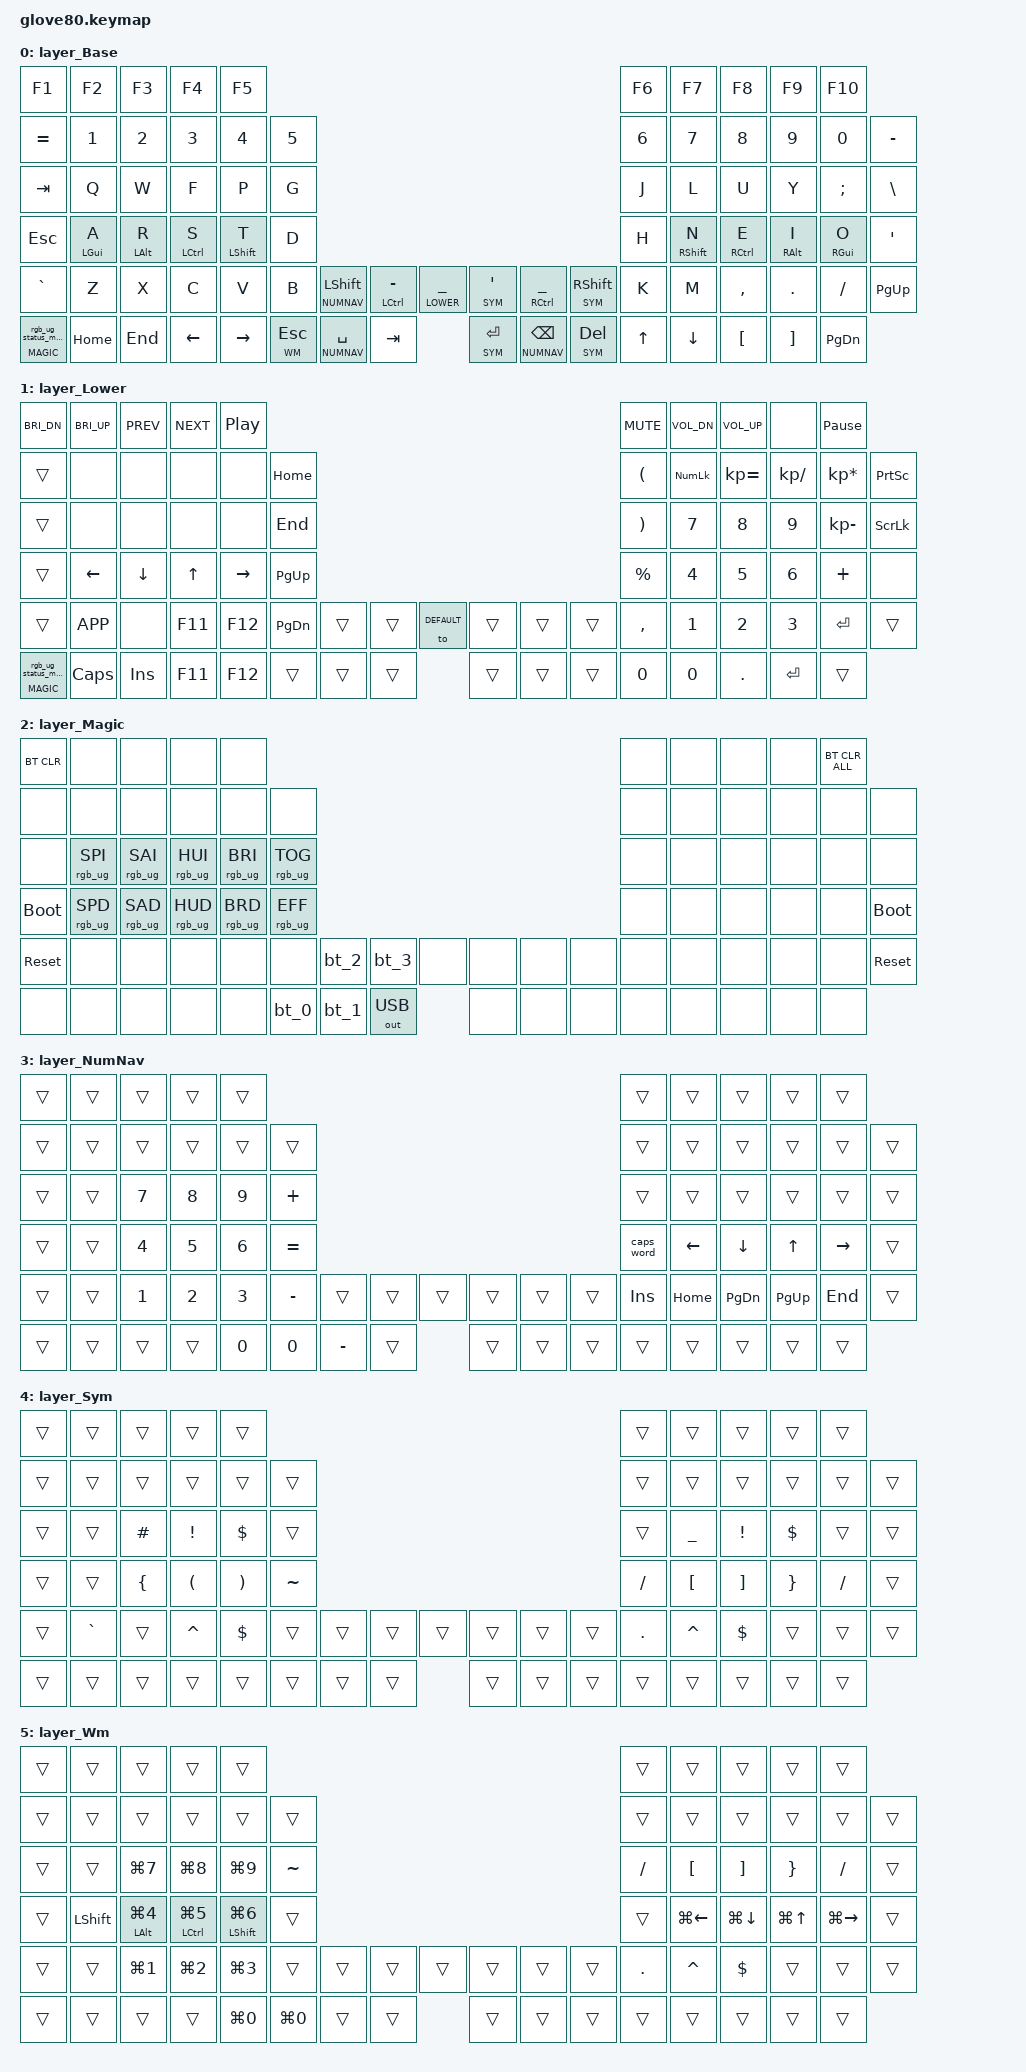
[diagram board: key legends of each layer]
#include <behaviors.dtsi>
#include <dt-bindings/zmk/keys.h>
#include <dt-bindings/zmk/bt.h>
#include <dt-bindings/zmk/outputs.h>
#include <dt-bindings/zmk/rgb.h>

/* Layer indices */
#define DEFAULT 0
#define LOWER   1
#define MAGIC   2
#define NUMNAV  3
#define SYM     4
#define WM      5

/ {
    behaviors {
        /* Lower layer: tap = momentary, double-tap = toggle */
        lower_td: tap_dance_0 {
            compatible = "zmk,behavior-tap-dance";
            // label = "LOWER_TAP_DANCE"; // deprecated
            #binding-cells = <0>;
            tapping-term-ms = <200>;
            bindings = <&mo LOWER>, <&to LOWER>;
        };

        /* Magic layer hold-tap */
        magic: magic_hold_tap {
            compatible = "zmk,behavior-hold-tap";
            // label = "MAGIC_HOLD_TAP"; // deprecated
            #binding-cells = <2>;
            flavor = "tap-preferred";
            tapping-term-ms = <200>;
            bindings = <&mo &rgb_ug_status_macro>;
        };

        /* Home-row mods */
        hm: homerow_mods {
            compatible = "zmk,behavior-hold-tap";
            // label = "HOMEROW_MODS"; // deprecated
            #binding-cells = <2>;
            tapping-term-ms = <110>;
            quick-tap-ms = <0>;
            flavor = "tap-preferred";
            bindings = <&kp &kp>;
        };
    };

    macros {
        rgb_ug_status_macro: rgb_ug_status_macro_0 {
            // label = "RGB_UG_STATUS"; // deprecated
            compatible = "zmk,behavior-macro";
            #binding-cells = <0>;
            bindings = <&rgb_ug RGB_STATUS>;
        };

        bt_0: bt_profile_macro_0 {
            // label = "BT_0"; // deprecated
            compatible = "zmk,behavior-macro";
            #binding-cells = <0>;
            bindings = <&out OUT_BLE &bt BT_SEL 0>;
        };

        bt_1: bt_profile_macro_1 {
            // label = "BT_1"; // deprecated
            compatible = "zmk,behavior-macro";
            #binding-cells = <0>;
            bindings = <&out OUT_BLE &bt BT_SEL 1>;
        };

        bt_2: bt_profile_macro_2 {
            // label = "BT_2"; // deprecated
            compatible = "zmk,behavior-macro";
            #binding-cells = <0>;
            bindings = <&out OUT_BLE &bt BT_SEL 2>;
        };

        bt_3: bt_profile_macro_3 {
            // label = "BT_3"; // deprecated
            compatible = "zmk,behavior-macro";
            #binding-cells = <0>;
            bindings = <&out OUT_BLE &bt BT_SEL 3>;
        };
    };

    keymap {
        compatible = "zmk,keymap";

        layer_Base {
            bindings = <
    &kp F1      &kp F2      &kp F3      &kp F4       &kp F5                                                                                                                &kp F6   &kp F7      &kp F8      &kp F9     &kp F10
    &kp EQUAL   &kp N1      &kp N2      &kp N3       &kp N4      &kp N5                                                                                                    &kp N6   &kp N7      &kp N8      &kp N9    &kp N0     &kp MINUS
    &kp TAB     &kp Q       &kp W       &kp F        &kp P       &kp G                                                                                                     &kp J    &kp L       &kp U       &kp Y    &kp SEMI   &kp BSLH
    &kp ESC     &mt LGUI A  &mt LALT R  &mt LCTRL S  &mt LSHFT T &kp D                                                                                                     &kp H    &mt RSHFT N &mt RCTRL E &mt RALT I    &mt RGUI O &kp SQT
    &kp GRAVE   &kp Z       &kp X       &kp C        &kp V       &kp B      &lt NUMNAV LSHFT &mt LCTRL MINUS &lt LOWER UNDER &lt SYM SQT     &mt RCTRL UNDER &lt SYM RSHFT &kp K    &kp M       &kp COMMA   &kp DOT    &kp FSLH   &kp PG_UP
    &magic MAGIC 0  &kp HOME    &kp END     &kp LEFT     &kp RIGHT   &lt WM ESC &lt NUMNAV SPACE &kp TAB         &lt SYM RET     &lt NUMNAV BSPC &lt SYM DEL     &kp UP       &kp DOWN    &kp LBKT    &kp RBKT    &kp PG_DN
            >;
        };

        layer_Lower {
            bindings = <
       &kp C_BRI_DN   &kp C_BRI_UP &kp C_PREV     &kp C_NEXT &kp C_PP                                                                                     &kp C_MUTE    &kp C_VOL_DN  &kp C_VOL_UP    &none             &kp PAUSE_BREAK
       &trans         &none        &none          &none      &none           &kp HOME                                                        &kp LPAR     &kp KP_NUM    &kp KP_EQUAL  &kp KP_SLASH    &kp KP_MULTIPLY   &kp PRINTSCREEN
       &trans         &none        &none          &none      &none           &kp END                                                         &kp RPAR     &kp N7        &kp N8        &kp N9          &kp KP_MINUS      &kp SCROLLLOCK
       &trans         &kp LEFT     &kp DOWN       &kp UP     &kp RIGHT       &kp PG_UP                                                       &kp PERCENT  &kp N4        &kp N5        &kp N6          &kp PLUS          &none
       &trans         &kp K_APP    &none          &kp F11    &kp F12         &kp PG_DN  &trans  &trans  &to DEFAULT  &trans  &trans  &trans  &kp COMMA    &kp N1        &kp N2        &kp N3          &kp ENTER         &trans
       &magic MAGIC 0     &kp CAPS     &kp INS        &kp F11    &kp F12                    &trans  &trans  &trans   &trans  &trans  &trans               &kp N0        &kp N0        &kp DOT         &kp ENTER         &trans
            >;
        };

        layer_Magic {
            bindings = <
       &bt BT_CLR       &none            &none            &none            &none                                                                                  &none   &none   &none   &none  &bt BT_CLR_ALL
       &none            &none            &none            &none            &none            &none                                                         &none   &none   &none   &none   &none  &none
       &none            &rgb_ug RGB_SPI  &rgb_ug RGB_SAI  &rgb_ug RGB_HUI  &rgb_ug RGB_BRI  &rgb_ug RGB_TOG                                               &none   &none   &none   &none   &none  &none
       &bootloader      &rgb_ug RGB_SPD  &rgb_ug RGB_SAD  &rgb_ug RGB_HUD  &rgb_ug RGB_BRD  &rgb_ug RGB_EFF                                               &none   &none   &none   &none   &none  &bootloader
       &sys_reset       &none            &none            &none            &none            &none   &bt_2   &bt_3         &none   &none   &none   &none   &none   &none   &none   &none   &none  &sys_reset
       &none            &none            &none            &none            &none                    &bt_0   &bt_1  &out OUT_USB   &none   &none   &none           &none   &none   &none   &none  &none
            >;
        };

        layer_NumNav {
            bindings = <
 &trans  &trans     &trans   &trans    &trans                                                                                &trans     &trans     &trans     &trans    &trans
 &trans  &trans     &trans   &trans    &trans  &trans                                                             &trans     &trans     &trans     &trans     &trans    &trans
 &trans  &trans  &kp N7      &kp N8    &kp N9  &kp PLUS                                                           &trans     &trans     &trans     &trans     &trans    &trans
 &trans  &trans  &kp N4      &kp N5    &kp N6  &kp EQUAL                                                          &caps_word &kp LEFT   &kp DOWN   &kp UP     &kp RIGHT &trans
 &trans  &trans  &kp N1      &kp N2    &kp N3  &kp MINUS  &trans  &trans     &trans    &trans  &trans  &trans     &kp INS    &kp HOME   &kp PG_DN  &kp PG_UP  &kp END   &trans
 &trans  &trans  &trans      &trans    &kp N0             &kp N0  &kp MINUS  &trans    &trans  &trans  &trans                &trans     &trans     &trans     &trans    &trans
            >;
        };

        layer_Sym {
            bindings = <
 &trans  &trans    &trans    &trans    &trans                                                                           &trans    &trans    &trans    &trans  &trans
 &trans  &trans    &trans    &trans    &trans    &trans                                                      &trans     &trans    &trans    &trans    &trans  &trans
 &trans  &trans    &kp HASH  &kp EXCL  &kp DLLR  &trans                                                      &trans     &kp UNDER  &kp EXCL  &kp DLLR    &trans  &trans
 &trans  &trans    &kp LBRC  &kp LPAR  &kp RPAR  &kp TILDE                                                   &kp FSLH   &kp LBKT  &kp RBKT  &kp RBRC  &kp FSLH  &trans
 &trans  &kp GRAVE &trans    &kp CARET &kp DLLR  &trans    &trans  &trans  &trans  &trans  &trans  &trans    &kp DOT    &kp CARET  &kp DLLR    &trans    &trans  &trans
 &trans  &trans    &trans    &trans    &trans              &trans  &trans  &trans  &trans  &trans  &trans               &trans    &trans    &trans    &trans  &trans
            >;
        };

        layer_Wm {
            bindings = <
&trans  &trans    &trans          &trans           &trans                                                                                          &trans       &trans        &trans     &trans        &trans
&trans  &trans    &trans          &trans           &trans           &trans                                                              &trans     &trans       &trans        &trans     &trans        &trans
&trans  &trans    &kp LG(N7)      &kp LG(N8)       &kp LG(N9)       &kp TILDE                                                           &kp FSLH   &kp LBKT     &kp RBKT      &kp RBRC   &kp FSLH      &trans
&trans  &kp LSHFT &mt LALT LG(N4) &mt LCTRL LG(N5) &mt LSHFT LG(N6) &trans                                                              &trans     &kp LG(LEFT) &kp LG(DOWN)  &kp LG(UP) &kp LG(RIGHT) &trans
&trans  &trans    &kp LG(N1)      &kp LG(N2)       &kp LG(N3)       &trans      &trans      &trans  &trans      &trans  &trans  &trans  &kp DOT    &kp CARET    &kp DLLR      &trans     &trans        &trans
&trans  &trans    &trans          &trans           &kp LG(N0)                   &kp LG(N0)  &trans  &trans      &trans  &trans  &trans             &trans       &trans        &trans     &trans        &trans
            >;
        };
    };
};
